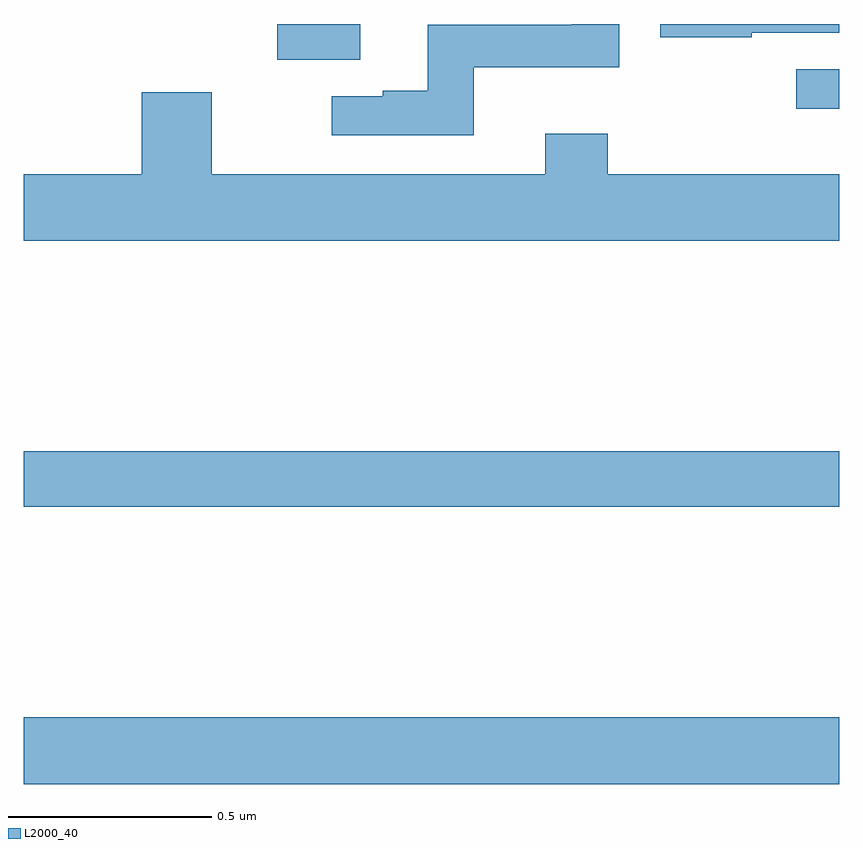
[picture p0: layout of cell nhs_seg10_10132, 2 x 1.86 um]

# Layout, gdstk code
import gdstk
lib = gdstk.Library(unit=1e-6, precision=1e-09)
def R(c, l, rs):  # rectangles x0, y0, x1, y1
    for r in rs: c.add(gdstk.rectangle(r[:2], r[2:], *l))
def P(c, l, *ps):  # polygons
    for p in ps: c.add(gdstk.Polygon(p, *l))
L2000_40 = (2000, 40)

nhs_seg10_10132 = lib.new_cell('nhs_seg10_10132')
R(nhs_seg10_10132, L2000_40, [(238,1313.636,240,1313.8), (238,1314.316,240,1314.452), (239.895,1315.292,240,1315.389), (238.622,1315.412,238.825,1315.5)])
P(nhs_seg10_10132, L2000_40, [(239.104,1315.394),(239.46,1315.394),(239.46,1315.5),(239.344,1315.5),(239.344,1315.498),(238.991,1315.498),(238.991,1315.336),(238.881,1315.336),(238.881,1315.323),(238.755,1315.323),(238.755,1315.227),(239.104,1315.227)],
  [(239.785,1315.479),(240,1315.479),(240,1315.5),(239.561,1315.5),(239.561,1315.467),(239.785,1315.467)],
  [(240,1315.132),(239.432,1315.132),(239.432,1315.231),(239.279,1315.231),(239.279,1315.132),(238.461,1315.132),(238.461,1315.333),(238.289,1315.333),(238.289,1315.132),(238,1315.132),(238,1314.968),(240,1314.968)])

lib.write_gds('nhs_seg10_10132.gds')
